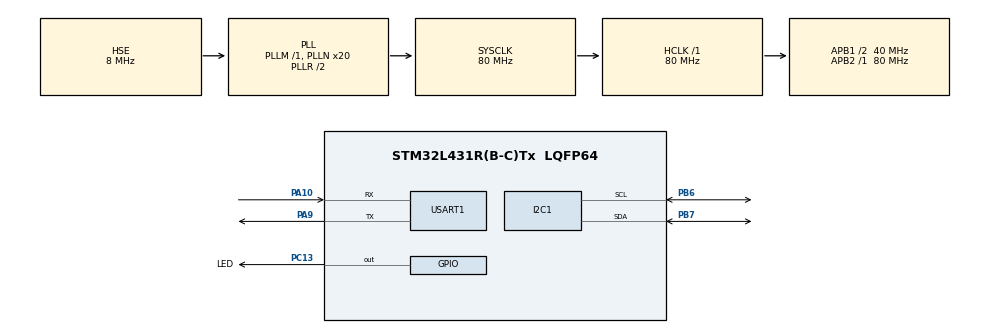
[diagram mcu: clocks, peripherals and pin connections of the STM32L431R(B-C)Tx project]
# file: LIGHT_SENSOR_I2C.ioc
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I2C1.Timing=0x00909BEB
Mcu.Family=STM32L4
Mcu.Name=STM32L431R(B-C)Tx
Mcu.Package=LQFP64
NVIC.PriorityGroup=NVIC_PRIORITYGROUP_4
PA10.Mode=Asynchronous
PA10.Signal=USART1_RX
PA13\ (JTMS-SWDIO).Mode=Serial_Wire
PA13\ (JTMS-SWDIO).Signal=SYS_JTMS-SWDIO
PA14\ (JTCK-SWCLK).Mode=Serial_Wire
PA14\ (JTCK-SWCLK).Signal=SYS_JTCK-SWCLK
PA9.Mode=Asynchronous
PA9.Signal=USART1_TX
PB6.Mode=I2C
PB6.Signal=I2C1_SCL
PB7.Mode=I2C
PB7.Signal=I2C1_SDA
PC13.GPIO_Label=LED
PC13.Signal=GPIO_Output
PH0-OSC_IN\ (PH0).Mode=HSE-External-Oscillator
PH0-OSC_IN\ (PH0).Signal=RCC_OSC_IN
PH1-OSC_OUT\ (PH1).Mode=HSE-External-Oscillator
PH1-OSC_OUT\ (PH1).Signal=RCC_OSC_OUT
ProjectManager.HeapSize=0x200
ProjectManager.StackSize=0x400
ProjectManager.TargetToolchain=MDK-ARM V5
RCC.ADCFreq_Value=32000000
RCC.AHBFreq_Value=80000000
RCC.APB1CLKDivider=RCC_HCLK_DIV2
RCC.APB1Freq_Value=40000000
RCC.APB1TimFreq_Value=80000000
RCC.APB2Freq_Value=80000000
RCC.APB2TimFreq_Value=80000000
RCC.CortexFreq_Value=80000000
RCC.HCLKFreq_Value=80000000
RCC.HSE_VALUE=8000000
RCC.HSI48_VALUE=48000000
RCC.HSI_VALUE=16000000
RCC.MSI_VALUE=4000000
RCC.PLLN=20
RCC.PLLSourceVirtual=RCC_PLLSOURCE_HSE
RCC.SYSCLKFreq_VALUE=80000000
RCC.SYSCLKSource=RCC_SYSCLKSOURCE_PLLCLK
RCC.VCOOutputFreq_Value=160000000
USART1.VirtualMode-Asynchronous=VM_ASYNC
board=custom

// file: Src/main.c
/* USER CODE BEGIN Header */
/**
  ******************************************************************************
  * @file           : main.c
  * @brief          : Main program body
  ******************************************************************************
  * @attention
  *
  * <h2><center>&copy; Copyright (c) 2020 STMicroelectronics.
  * All rights reserved.</center></h2>
  *
  * This software component is licensed by ST under BSD 3-Clause license,
  * the "License"; You may not use this file except in compliance with the
  * License. You may obtain a copy of the License at:
  *                        opensource.org/licenses/BSD-3-Clause
  *
  ******************************************************************************
  */
/* USER CODE END Header */

#include "main.h"
#include "i2c.h"
#include "usart.h"
#include "gpio.h"

/* USER CODE BEGIN PD */
/*接收光强超时值*/
#define TIMEOUT 200
/*光强值检测阈值*/
#define LIGHT_SENSOR_THREHOLD 30

/*mode:模式选择*/
//连续高分辨率模式精度 1 lux
#define LUX_1_MODE   0x10
//连续高分辨率模式2精度 0.5 lux
#define LUX_0_5_MODE 0x11
//低分辨率模式
#define LUX_LOW_MODE 0x13

#define WRITE_ADDRESS 0x46		//0100 011  0
#define READ_ADDRESS  0x47		//0100 011  1
/* USER CODE END PD */

/* USER CODE BEGIN PV */
/*光照强度传感器结构体*/
typedef struct light_sensor
{
    /*光强值*/
    int				Lux ;
    /*multi_timer定时器句柄*/
    Timer 		timer1 ;
    /*定时器计数值*/
    uint16_t 	Timer_Count ;
    /*是否采集完成标志*/
    uint8_t   Conver_completed ;
    /*定时回调*/
    void (*timeout_cb)(void);
} light_sensor_TypeDef;
light_sensor_TypeDef lsensor ;

/* USER CODE END PV */

void SystemClock_Config(void);

/* USER CODE BEGIN 0 */
/*定时器回调函数*/
void timer1_callback(void)
{
    ++lsensor.Timer_Count;
}

/*初始化参数*/
void Init_BH750(void)
{
    lsensor.Lux = 0 ;
    lsensor.Timer_Count = 0 ;
    lsensor.Conver_completed = 0 ;
    lsensor.timeout_cb = timer1_callback ;
}

/*读取光强*/
void ReadBH1750(uint8_t mode)
{
    float lux = 0;
    uint8_t ReadData[2] = {0};
    static uint8_t Sensor_Status = 0 ;

    /*读取光强流程*/
    switch(Sensor_Status)
    {
        /*1、发送检测光强模式的指令*/
        case 0:
            if(HAL_OK != HAL_I2C_Master_Transmit(&hi2c1, WRITE_ADDRESS, (uint8_t *)&mode, 1, 0xff))
                return  ;

            Sensor_Status = 1 ;
            lsensor.Timer_Count = 0 ;
            lsensor.Conver_completed = 0 ;
            break ;

        case 1:

            /*
            	2、发送命令后延时200ms等待读取
            	定时200ms，判断是否已经到了
            	这里相当于取代了延时等待，不占用CPU
            */
            if(TIMEOUT == lsensor.Timer_Count)
            {
                lsensor.Timer_Count = 0 ;

                //3、开始读取光强，发送读光强指令
                if(HAL_OK == HAL_I2C_Master_Receive(&hi2c1, READ_ADDRESS, ReadData, 2, 0xff))
                {
                    lux=(float)((ReadData[0]<<8)|ReadData[1]);
										lux=(double)lux/1.2;
                    lsensor.Lux = (int)lux ;
                    /*4、转换完成*/
                    lsensor.Conver_completed = 1 ;
										Sensor_Status = 0 ;
                }
            }

            break ;

        default:
            break;
    }
}
/* USER CODE END 0 */

int main(void)
{

    /* MCU Configuration--------------------------------------------------------*/

    /* Reset of all peripherals, Initializes the Flash interface and the Systick. */
    HAL_Init();

    /* Configure the system clock */
    SystemClock_Config();

    /* Initialize all configured peripherals */
    MX_GPIO_Init();
    MX_I2C1_Init();
    MX_USART1_UART_Init();
    /* USER CODE BEGIN 2 */
    /*串口初始化后加这个延时，防止后面的printf打印乱码*/
    HAL_Delay(200);
    printf("光强读取测试实验\n");
    Init_BH750();
    timer_init(&lsensor.timer1, lsensor.timeout_cb, 1, 1);
    timer_start(&lsensor.timer1);
    /* USER CODE END 2 */

    /* Infinite loop */
    while (1)
    {

        /* USER CODE BEGIN 3 */
        ReadBH1750(LUX_1_MODE);

        if(1 == lsensor.Conver_completed)
        {
            printf("当前光强值:%d\n", lsensor.Lux);

            if(lsensor.Lux > LIGHT_SENSOR_THREHOLD)
            {
                HAL_GPIO_WritePin(LED_GPIO_Port, LED_Pin, GPIO_PIN_RESET);
            }
            else
            {
                HAL_GPIO_WritePin(LED_GPIO_Port, LED_Pin, GPIO_PIN_SET);
            }
        }

        timer_loop();

    }

    /* USER CODE END 3 */
}

void SystemClock_Config(void)
{
    RCC_OscInitTypeDef RCC_OscInitStruct = {0};
    RCC_ClkInitTypeDef RCC_ClkInitStruct = {0};
    RCC_PeriphCLKInitTypeDef PeriphClkInit = {0};

    /** Initializes the CPU, AHB and APB busses clocks
    */
    RCC_OscInitStruct.OscillatorType = RCC_OSCILLATORTYPE_HSE;
    RCC_OscInitStruct.HSEState = RCC_HSE_ON;
    RCC_OscInitStruct.PLL.PLLState = RCC_PLL_ON;
    RCC_OscInitStruct.PLL.PLLSource = RCC_PLLSOURCE_HSE;
    RCC_OscInitStruct.PLL.PLLM = 1;
    RCC_OscInitStruct.PLL.PLLN = 20;
    RCC_OscInitStruct.PLL.PLLP = RCC_PLLP_DIV7;
    RCC_OscInitStruct.PLL.PLLQ = RCC_PLLQ_DIV2;
    RCC_OscInitStruct.PLL.PLLR = RCC_PLLR_DIV2;

    if (HAL_RCC_OscConfig(&RCC_OscInitStruct) != HAL_OK)
    {
        Error_Handler();
    }

    /** Initializes the CPU, AHB and APB busses clocks
    */
    RCC_ClkInitStruct.ClockType = RCC_CLOCKTYPE_HCLK | RCC_CLOCKTYPE_SYSCLK
                                  | RCC_CLOCKTYPE_PCLK1 | RCC_CLOCKTYPE_PCLK2;
    RCC_ClkInitStruct.SYSCLKSource = RCC_SYSCLKSOURCE_PLLCLK;
    RCC_ClkInitStruct.AHBCLKDivider = RCC_SYSCLK_DIV1;
    RCC_ClkInitStruct.APB1CLKDivider = RCC_HCLK_DIV2;
    RCC_ClkInitStruct.APB2CLKDivider = RCC_HCLK_DIV1;

    if (HAL_RCC_ClockConfig(&RCC_ClkInitStruct, FLASH_LATENCY_4) != HAL_OK)
    {
        Error_Handler();
    }

    PeriphClkInit.PeriphClockSelection = RCC_PERIPHCLK_USART1 | RCC_PERIPHCLK_I2C1;
    PeriphClkInit.Usart1ClockSelection = RCC_USART1CLKSOURCE_PCLK2;
    PeriphClkInit.I2c1ClockSelection = RCC_I2C1CLKSOURCE_PCLK1;

    if (HAL_RCCEx_PeriphCLKConfig(&PeriphClkInit) != HAL_OK)
    {
        Error_Handler();
    }

    /** Configure the main internal regulator output voltage
    */
    if (HAL_PWREx_ControlVoltageScaling(PWR_REGULATOR_VOLTAGE_SCALE1) != HAL_OK)
    {
        Error_Handler();
    }
}

void Error_Handler(void)
{
}

/************************ (C) COPYRIGHT STMicroelectronics *****END OF FILE****/
